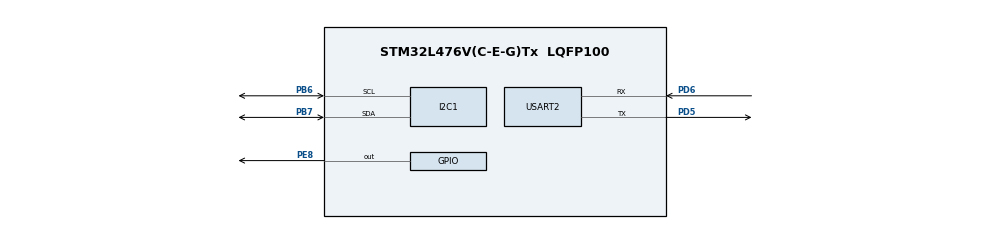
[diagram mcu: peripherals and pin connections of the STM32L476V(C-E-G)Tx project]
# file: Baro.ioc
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Mcu.Family=STM32L4
Mcu.Name=STM32L476V(C-E-G)Tx
Mcu.Package=LQFP100
NVIC.I2C1_ER_IRQn=true\:0\:0\:false\:false\:true\:true\:true
NVIC.I2C1_EV_IRQn=true\:0\:0\:false\:false\:true\:true\:true
NVIC.PriorityGroup=NVIC_PRIORITYGROUP_4
NVIC.TIM6_DAC_IRQn=true\:0\:0\:false\:false\:true\:true\:true
PB6.Mode=I2C
PB6.Signal=I2C1_SCL
PB7.Mode=I2C
PB7.Signal=I2C1_SDA
PD5.Mode=Asynchronous
PD5.Signal=USART2_TX
PD6.Mode=Asynchronous
PD6.Signal=USART2_RX
PE8.Signal=GPIO_Output
ProjectManager.HeapSize=0x200
ProjectManager.StackSize=0x400
ProjectManager.TargetToolchain=MDK-ARM V5
RCC.APB1TimFreq_Value=4000000
RCC.HSE_VALUE=8000000
RCC.HSI_VALUE=16000000
RCC.LSE_VALUE=32768
RCC.MSI_VALUE=4000000
RCC.VCOOutputFreq_Value=32000000
TIM6.AutoReloadPreload=TIM_AUTORELOAD_PRELOAD_DISABLE
TIM6.Period=199
TIM6.Prescaler=199
TIM6.TIM_MasterOutputTrigger=TIM_TRGO_UPDATE
USART2.VirtualMode-Asynchronous=VM_ASYNC
VP_TIM6_VS_ClockSourceINT.Mode=Enable_Timer
board=custom

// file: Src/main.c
/* USER CODE BEGIN Header */
/**
  ******************************************************************************
  * @file           : main.c
  * @brief          : Main program body
  ******************************************************************************
  ** This notice applies to any and all portions of this file
  * that are not between comment pairs USER CODE BEGIN and
  * USER CODE END. Other portions of this file, whether
  * inserted by the user or by software development tools
  * are owned by their respective copyright owners.
  *
  * COPYRIGHT(c) 2019 STMicroelectronics
  *
  * Redistribution and use in source and binary forms, with or without modification,
  * are permitted provided that the following conditions are met:
  *   1. Redistributions of source code must retain the above copyright notice,
  *      this list of conditions and the following disclaimer.
  *   2. Redistributions in binary form must reproduce the above copyright notice,
  *      this list of conditions and the following disclaimer in the documentation
  *      and/or other materials provided with the distribution.
  *   3. Neither the name of STMicroelectronics nor the names of its contributors
  *      may be used to endorse or promote products derived from this software
  *      without specific prior written permission.
  *
  * THIS SOFTWARE IS PROVIDED BY THE COPYRIGHT HOLDERS AND CONTRIBUTORS "AS IS"
  * AND ANY EXPRESS OR IMPLIED WARRANTIES, INCLUDING, BUT NOT LIMITED TO, THE
  * IMPLIED WARRANTIES OF MERCHANTABILITY AND FITNESS FOR A PARTICULAR PURPOSE ARE
  * DISCLAIMED. IN NO EVENT SHALL THE COPYRIGHT HOLDER OR CONTRIBUTORS BE LIABLE
  * FOR ANY DIRECT, INDIRECT, INCIDENTAL, SPECIAL, EXEMPLARY, OR CONSEQUENTIAL
  * DAMAGES (INCLUDING, BUT NOT LIMITED TO, PROCUREMENT OF SUBSTITUTE GOODS OR
  * SERVICES; LOSS OF USE, DATA, OR PROFITS; OR BUSINESS INTERRUPTION) HOWEVER
  * CAUSED AND ON ANY THEORY OF LIABILITY, WHETHER IN CONTRACT, STRICT LIABILITY,
  * OR TORT (INCLUDING NEGLIGENCE OR OTHERWISE) ARISING IN ANY WAY OUT OF THE USE
  * OF THIS SOFTWARE, EVEN IF ADVISED OF THE POSSIBILITY OF SUCH DAMAGE.
  *
  ******************************************************************************
  */
/* USER CODE END Header */

#include "main.h"
#include "MS5611.h"
#include "math.h"
#include "stdio.h"

I2C_HandleTypeDef hi2c1;

TIM_HandleTypeDef htim6;

UART_HandleTypeDef huart2;

void SystemClock_Config(void);
static void MX_GPIO_Init(void);
static void MX_I2C1_Init(void);
static void MX_USART2_UART_Init(void);
static void MX_TIM6_Init(void);

int main(void)
{
  /* USER CODE BEGIN 1 */

  char str[80] = "";
	int overflows_to_Vy_calc = 10;

  double temperature = 0;
  double pressure = 0;
  double altitude = 0;
	double verticalSpeed = 0;

  /* USER CODE END 1 */

  /* MCU Configuration--------------------------------------------------------*/

  /* Reset of all peripherals, Initializes the Flash interface and the Systick. */
  HAL_Init();

  /* Configure the system clock */
  SystemClock_Config();

  /* Initialize all configured peripherals */
  MX_GPIO_Init();
  MX_I2C1_Init();
  MX_USART2_UART_Init();
  MX_TIM6_Init();
  /* USER CODE BEGIN 2 */

  HAL_TIM_Base_Start(&htim6);
  HAL_TIM_Base_Start_IT(&htim6);
	extern int tim6_counter;

  MS5611 ms5611(0x77,hi2c1,10,overflows_to_Vy_calc);

  /* USER CODE END 2 */

  /* Infinite loop */
  /* USER CODE BEGIN WHILE */
  while (1)
  {

		if (tim6_counter > overflows_to_Vy_calc)
		{
			//ms5611.verticalSpeedCalc();
			HAL_GPIO_TogglePin(GPIOE, GPIO_PIN_8); //green led blnking just to know everything is ok
			tim6_counter = 0;
		}

		altitude = ms5611.getAltitude();
		//verticalSpeed = ms5611.getVerticalSpeed();
		sprintf(str,"%lf\r\n",altitude);
    HAL_UART_Transmit(&huart2,(uint8_t*)str,16,0xFFFF);
    HAL_Delay(100);

    /* USER CODE END WHILE */

  }
}

void SystemClock_Config(void)
{
  RCC_OscInitTypeDef RCC_OscInitStruct = {0};
  RCC_ClkInitTypeDef RCC_ClkInitStruct = {0};
  RCC_PeriphCLKInitTypeDef PeriphClkInit = {0};

  /**Initializes the CPU, AHB and APB busses clocks
  */
  RCC_OscInitStruct.OscillatorType = RCC_OSCILLATORTYPE_MSI;
  RCC_OscInitStruct.MSIState = RCC_MSI_ON;
  RCC_OscInitStruct.MSICalibrationValue = 0;
  RCC_OscInitStruct.MSIClockRange = RCC_MSIRANGE_6;
  RCC_OscInitStruct.PLL.PLLState = RCC_PLL_NONE;
  if (HAL_RCC_OscConfig(&RCC_OscInitStruct) != HAL_OK)
  {
    Error_Handler();
  }
  /**Initializes the CPU, AHB and APB busses clocks
  */
  RCC_ClkInitStruct.ClockType = RCC_CLOCKTYPE_HCLK|RCC_CLOCKTYPE_SYSCLK
                              |RCC_CLOCKTYPE_PCLK1|RCC_CLOCKTYPE_PCLK2;
  RCC_ClkInitStruct.SYSCLKSource = RCC_SYSCLKSOURCE_MSI;
  RCC_ClkInitStruct.AHBCLKDivider = RCC_SYSCLK_DIV1;
  RCC_ClkInitStruct.APB1CLKDivider = RCC_HCLK_DIV1;
  RCC_ClkInitStruct.APB2CLKDivider = RCC_HCLK_DIV1;

  if (HAL_RCC_ClockConfig(&RCC_ClkInitStruct, FLASH_LATENCY_0) != HAL_OK)
  {
    Error_Handler();
  }
  PeriphClkInit.PeriphClockSelection = RCC_PERIPHCLK_USART2|RCC_PERIPHCLK_I2C1;
  PeriphClkInit.Usart2ClockSelection = RCC_USART2CLKSOURCE_PCLK1;
  PeriphClkInit.I2c1ClockSelection = RCC_I2C1CLKSOURCE_PCLK1;
  if (HAL_RCCEx_PeriphCLKConfig(&PeriphClkInit) != HAL_OK)
  {
    Error_Handler();
  }
  /**Configure the main internal regulator output voltage
  */
  if (HAL_PWREx_ControlVoltageScaling(PWR_REGULATOR_VOLTAGE_SCALE1) != HAL_OK)
  {
    Error_Handler();
  }
}

static void MX_I2C1_Init(void)
{

  hi2c1.Instance = I2C1;
  hi2c1.Init.Timing = 0x00000E14;
  hi2c1.Init.OwnAddress1 = 0;
  hi2c1.Init.AddressingMode = I2C_ADDRESSINGMODE_7BIT;
  hi2c1.Init.DualAddressMode = I2C_DUALADDRESS_DISABLE;
  hi2c1.Init.OwnAddress2 = 0;
  hi2c1.Init.OwnAddress2Masks = I2C_OA2_NOMASK;
  hi2c1.Init.GeneralCallMode = I2C_GENERALCALL_DISABLE;
  hi2c1.Init.NoStretchMode = I2C_NOSTRETCH_DISABLE;
  if (HAL_I2C_Init(&hi2c1) != HAL_OK)
  {
    Error_Handler();
  }
  /**Configure Analogue filter
  */
  if (HAL_I2CEx_ConfigAnalogFilter(&hi2c1, I2C_ANALOGFILTER_ENABLE) != HAL_OK)
  {
    Error_Handler();
  }
  /**Configure Digital filter
  */
  if (HAL_I2CEx_ConfigDigitalFilter(&hi2c1, 0) != HAL_OK)
  {
    Error_Handler();
  }

}

static void MX_TIM6_Init(void)
{

  TIM_MasterConfigTypeDef sMasterConfig = {0};

  htim6.Instance = TIM6;
  htim6.Init.Prescaler = 19;
  htim6.Init.CounterMode = TIM_COUNTERMODE_UP;
  htim6.Init.Period = 199;
  htim6.Init.AutoReloadPreload = TIM_AUTORELOAD_PRELOAD_DISABLE;
  if (HAL_TIM_Base_Init(&htim6) != HAL_OK)
  {
    Error_Handler();
  }
  sMasterConfig.MasterOutputTrigger = TIM_TRGO_UPDATE;
  sMasterConfig.MasterSlaveMode = TIM_MASTERSLAVEMODE_DISABLE;
  if (HAL_TIMEx_MasterConfigSynchronization(&htim6, &sMasterConfig) != HAL_OK)
  {
    Error_Handler();
  }

}

static void MX_USART2_UART_Init(void)
{

  huart2.Instance = USART2;
  huart2.Init.BaudRate = 115200;
  huart2.Init.WordLength = UART_WORDLENGTH_8B;
  huart2.Init.StopBits = UART_STOPBITS_1;
  huart2.Init.Parity = UART_PARITY_NONE;
  huart2.Init.Mode = UART_MODE_TX_RX;
  huart2.Init.HwFlowCtl = UART_HWCONTROL_NONE;
  huart2.Init.OverSampling = UART_OVERSAMPLING_16;
  huart2.Init.OneBitSampling = UART_ONE_BIT_SAMPLE_DISABLE;
  huart2.AdvancedInit.AdvFeatureInit = UART_ADVFEATURE_NO_INIT;
  if (HAL_UART_Init(&huart2) != HAL_OK)
  {
    Error_Handler();
  }

}

static void MX_GPIO_Init(void)
{
  GPIO_InitTypeDef GPIO_InitStruct = {0};

  /* GPIO Ports Clock Enable */
  __HAL_RCC_GPIOE_CLK_ENABLE();
  __HAL_RCC_GPIOD_CLK_ENABLE();
  __HAL_RCC_GPIOB_CLK_ENABLE();

  /*Configure GPIO pin Output Level */
  HAL_GPIO_WritePin(GPIOE, GPIO_PIN_8, GPIO_PIN_RESET);

  /*Configure GPIO pin : PE8 */
  GPIO_InitStruct.Pin = GPIO_PIN_8;
  GPIO_InitStruct.Mode = GPIO_MODE_OUTPUT_PP;
  GPIO_InitStruct.Pull = GPIO_NOPULL;
  GPIO_InitStruct.Speed = GPIO_SPEED_FREQ_LOW;
  HAL_GPIO_Init(GPIOE, &GPIO_InitStruct);

}

void Error_Handler(void)
{
}

/************************ (C) COPYRIGHT STMicroelectronics *****END OF FILE****/
